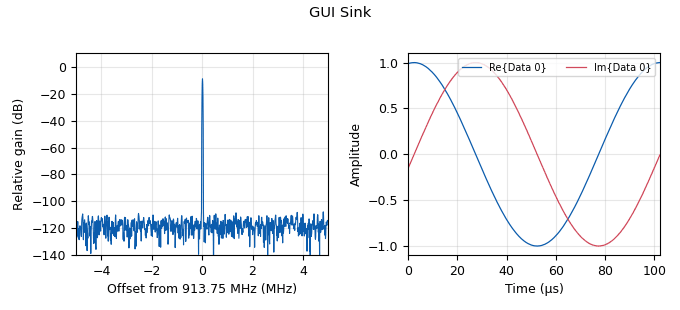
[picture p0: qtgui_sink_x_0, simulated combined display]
options:
  parameters:
    generate_options: qt_gui
    id: transmit_osmocom
    output_language: python
    title: RF TX Sweep
  states: {}

blocks:
- name: f_max
  id: variable
  parameters:
    value: 927.5e6
  states: {}
- name: f_min
  id: variable
  parameters:
    value: 900e6
  states: {}
- name: freq
  id: variable
  parameters:
    value: freq_sweeper.sweeper(fun_prob, f_min, f_max, step_size)
  states: {}
- name: frequency
  id: variable_qtgui_label
  parameters:
    gui_hint: 1,1
    label: frequency
    type: real
    value: freq
  states: {}
- name: fun_prob
  id: variable_function_probe
  parameters:
    block_id: probSign
    function_name: level
    poll_rate: '2'
    value: '0'
  states: {}
- name: if_gain
  id: variable_qtgui_range
  parameters:
    gui_hint: 0,1
    label: IF
    start: '0'
    step: '1'
    stop: '47'
    value: '10'
  states: {}
- name: mult
  id: variable_qtgui_range
  parameters:
    gui_hint: 0,3
    label: SW Gain
    start: '0'
    step: '1'
    stop: '10'
    value: '1'
  states: {}
- name: rf_gain
  id: variable_qtgui_range
  parameters:
    gui_hint: 0,0
    label: RF Gain
    start: '0'
    step: '1'
    stop: '20'
    value: '0'
  states: {}
- name: samp_rate
  id: variable
  parameters:
    value: 10e6
  states: {}
- name: step_size
  id: variable
  parameters:
    value: 1e6
  states: {}
- name: analog_noise_source_x_0
  id: analog_noise_source_x
  parameters:
    amp: '0.0001'
    noise_type: analog.GR_GAUSSIAN
    seed: '0'
    type: complex
  states: {}
- name: analog_sig_source_x_0
  id: analog_sig_source_x
  parameters:
    amp: '1'
    freq: 10e3
    offset: '0'
    phase: '0'
    samp_rate: samp_rate
    type: complex
    waveform: analog.GR_SIN_WAVE
  states: {}
- name: blocks_add_xx_0
  id: blocks_add_xx
  parameters:
    type: complex
  states: {}
- name: blocks_multiply_const_vxx_0
  id: blocks_multiply_const_vxx
  parameters:
    const: mult
    type: complex
  states: {}
- name: blocks_throttle2_0
  id: blocks_throttle2
  parameters:
    samples_per_second: samp_rate
    type: complex
  states: {}
- name: freq_sweeper
  id: epy_module
  parameters:
    source_code: |
      f = None

      def sweeper(prob_lvl, f_min, f_max, step_size):
          global f
          if f is None:
              print("Initializing frequency to f_min:", f_min)
              f = f_min
          if prob_lvl:
              f += step_size
              print("Stepped frequency to:", f)
          if f >= f_max:
              print("Frequency wrapped to f_min:", f_min)
              f = f_min
          return f
  states: {}
- name: osmosdr_sink_0
  id: osmosdr_sink
  parameters:
    bb_gain0: '0'
    freq0: freq_sweeper.sweeper(fun_prob, f_min, f_max, step_size)
    gain0: rf_gain
    if_gain0: if_gain
    sample_rate: samp_rate
    sync: sync
    type: fc32
  states: {}
- name: probSign
  id: blocks_probe_signal_x
  parameters:
    type: complex
  states: {}
- name: qtgui_sink_x_0
  id: qtgui_sink_x
  parameters:
    bw: samp_rate
    fc: ((f_max-f_min)/2+f_min)
    fftsize: '1024'
    name: GUI Sink
    plotconst: 'False'
    showrf: 'True'
    type: complex
  states: {}

connections:
- [analog_noise_source_x_0, '0', blocks_add_xx_0, '0']
- [analog_sig_source_x_0, '0', blocks_add_xx_0, '1']
- [blocks_add_xx_0, '0', blocks_multiply_const_vxx_0, '0']
- [blocks_multiply_const_vxx_0, '0', blocks_throttle2_0, '0']
- [blocks_throttle2_0, '0', osmosdr_sink_0, '0']
- [blocks_throttle2_0, '0', probSign, '0']
- [blocks_throttle2_0, '0', qtgui_sink_x_0, '0']

metadata:
  file_format: 1
  grc_version: 3.10.12.0
